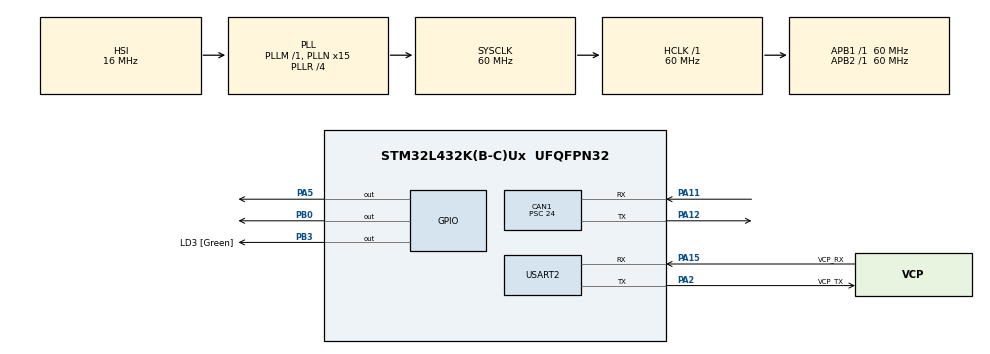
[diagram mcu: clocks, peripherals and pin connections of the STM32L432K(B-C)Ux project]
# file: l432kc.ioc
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CAN1.BS1=CAN_BS1_2TQ
CAN1.BS2=CAN_BS2_2TQ
CAN1.CalculateBaudRate=500000
CAN1.CalculateTimeBit=2000
CAN1.CalculateTimeQuantum=400.0
CAN1.Mode=CAN_MODE_NORMAL
CAN1.Prescaler=24
Dma.Request0=USART2_RX
Dma.USART2_RX.0.Direction=DMA_PERIPH_TO_MEMORY
Dma.USART2_RX.0.Instance=DMA1_Channel6
Dma.USART2_RX.0.MemDataAlignment=DMA_MDATAALIGN_BYTE
Dma.USART2_RX.0.MemInc=DMA_MINC_ENABLE
Dma.USART2_RX.0.Mode=DMA_NORMAL
Dma.USART2_RX.0.PeriphDataAlignment=DMA_PDATAALIGN_BYTE
Dma.USART2_RX.0.PeriphInc=DMA_PINC_DISABLE
Dma.USART2_RX.0.Priority=DMA_PRIORITY_LOW
Mcu.Family=STM32L4
Mcu.Name=STM32L432K(B-C)Ux
Mcu.Package=UFQFPN32
NVIC.CAN1_RX0_IRQn=true\:0\:0\:false\:false\:true\:true\:true\:true
NVIC.DMA1_Channel6_IRQn=true\:0\:0\:false\:false\:true\:false\:true\:true
NVIC.PriorityGroup=NVIC_PRIORITYGROUP_4
NVIC.TIM6_DAC_IRQn=true\:15\:0\:false\:false\:true\:false\:true\:true
NVIC.TimeBase=TIM6_DAC_IRQn
NVIC.TimeBaseIP=TIM6
NVIC.USART2_IRQn=true\:0\:0\:false\:false\:true\:true\:true\:true
PA0.GPIO_Label=MCO [High speed clock in]
PA0.Mode=HSE-External-Clock-Source-for-LittleOrca
PA0.Signal=RCC_CK_IN
PA11.Mode=CAN_Activate
PA11.Signal=CAN1_RX
PA12.Mode=CAN_Activate
PA12.Signal=CAN1_TX
PA13\ (JTMS-SWDIO).GPIO_Label=SWDIO
PA13\ (JTMS-SWDIO).Mode=Serial_Wire
PA13\ (JTMS-SWDIO).Signal=SYS_JTMS-SWDIO
PA14\ (JTCK-SWCLK).GPIO_Label=SWCLK
PA14\ (JTCK-SWCLK).Mode=Serial_Wire
PA14\ (JTCK-SWCLK).Signal=SYS_JTCK-SWCLK
PA15\ (JTDI).GPIO_Label=VCP_RX
PA15\ (JTDI).Mode=Asynchronous
PA15\ (JTDI).Signal=USART2_RX
PA2.GPIO_Label=VCP_TX
PA2.Mode=Asynchronous
PA2.Signal=USART2_TX
PA5.Signal=GPIO_Output
PB0.Signal=GPIO_Output
PB3\ (JTDO-TRACESWO).GPIO_Label=LD3 [Green]
PB3\ (JTDO-TRACESWO).Signal=GPIO_Output
PC14-OSC32_IN\ (PC14).Mode=LSE-External-Oscillator
PC14-OSC32_IN\ (PC14).Signal=RCC_OSC32_IN
PC15-OSC32_OUT\ (PC15).Mode=LSE-External-Oscillator
PC15-OSC32_OUT\ (PC15).Signal=RCC_OSC32_OUT
ProjectManager.HeapSize=0x200
ProjectManager.StackSize=0x400
ProjectManager.TargetToolchain=STM32CubeIDE
RCC.ADCFreq_Value=64000000
RCC.AHBFreq_Value=60000000
RCC.APB1Freq_Value=60000000
RCC.APB1TimFreq_Value=60000000
RCC.APB2Freq_Value=60000000
RCC.APB2TimFreq_Value=60000000
RCC.CortexFreq_Value=60000000
RCC.HCLKFreq_Value=60000000
RCC.HSE_VALUE=16000000
RCC.HSI16_VALUE=16000000
RCC.HSI48_VALUE=48000000
RCC.HSI_VALUE=16000000
RCC.MSI_VALUE=4000000
RCC.PLLMUL=RCC_PLLMUL_4
RCC.PLLN=15
RCC.PLLR=RCC_PLLR_DIV4
RCC.PLLSourceVirtual=RCC_PLLSOURCE_HSI
RCC.SYSCLKFreq_VALUE=60000000
RCC.SYSCLKSource=RCC_SYSCLKSOURCE_PLLCLK
RCC.USBFreq_Value=64000000
RCC.VCOOutputFreq_Value=240000000
USART2.VirtualMode-Asynchronous=VM_ASYNC
VP_SYS_VS_tim6.Mode=TIM6
board=NUCLEO-L432KC

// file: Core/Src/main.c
/* USER CODE BEGIN Header */
/**
  ******************************************************************************
  * @file           : main.c
  * @brief          : Main program body
  ******************************************************************************
  * @attention
  *
  * Copyright (c) 2023 STMicroelectronics.
  * All rights reserved.
  *
  * This software is licensed under terms that can be found in the LICENSE file
  * in the root directory of this software component.
  * If no LICENSE file comes with this software, it is provided AS-IS.
  *
  ******************************************************************************
  */
/* USER CODE END Header */
#include "main.h"

/* USER CODE BEGIN Includes */
#include <string.h>
#include <stdio.h>
#include <stdlib.h>
#include <math.h>

/* USER CODE END Includes */

CAN_HandleTypeDef hcan1;

UART_HandleTypeDef huart2;
DMA_HandleTypeDef hdma_usart2_rx;

/* USER CODE BEGIN PV */
CAN_FilterTypeDef canfilterconfig;

/* USER CODE END PV */

void SystemClock_Config(void);
static void MX_GPIO_Init(void);
static void MX_DMA_Init(void);
static void MX_USART2_UART_Init(void);
static void MX_CAN1_Init(void);

int main(void)
{

  /* MCU Configuration--------------------------------------------------------*/

  /* Reset of all peripherals, Initializes the Flash interface and the Systick. */
	HAL_Init();

  /* Configure the system clock */
  SystemClock_Config();

  /* Initialize all configured peripherals */
  MX_GPIO_Init();
  MX_DMA_Init();
  MX_USART2_UART_Init();
  MX_CAN1_Init();
  /* USER CODE BEGIN 2 */

  HAL_CAN_Start(&hcan1);
  // Activate the notification
  HAL_CAN_ActivateNotification(&hcan1, CAN_IT_RX_FIFO0_MSG_PENDING);

  /* USER CODE END 2 */

  /* Infinite loop */
  /* USER CODE BEGIN WHILE */

	ManagerHMI_Init();

  while (1)
  {
	ManagerHMI_Task();

    /* USER CODE END WHILE */

  }
}

void SystemClock_Config(void)
{
  RCC_OscInitTypeDef RCC_OscInitStruct = {0};
  RCC_ClkInitTypeDef RCC_ClkInitStruct = {0};

  /** Configure the main internal regulator output voltage
  */
  if (HAL_PWREx_ControlVoltageScaling(PWR_REGULATOR_VOLTAGE_SCALE1) != HAL_OK)
  {
    Error_Handler();
  }

  /** Initializes the RCC Oscillators according to the specified parameters
  * in the RCC_OscInitTypeDef structure.
  */
  RCC_OscInitStruct.OscillatorType = RCC_OSCILLATORTYPE_HSI;
  RCC_OscInitStruct.HSIState = RCC_HSI_ON;
  RCC_OscInitStruct.HSICalibrationValue = RCC_HSICALIBRATION_DEFAULT;
  RCC_OscInitStruct.PLL.PLLState = RCC_PLL_ON;
  RCC_OscInitStruct.PLL.PLLSource = RCC_PLLSOURCE_HSI;
  RCC_OscInitStruct.PLL.PLLM = 1;
  RCC_OscInitStruct.PLL.PLLN = 15;
  RCC_OscInitStruct.PLL.PLLP = RCC_PLLP_DIV7;
  RCC_OscInitStruct.PLL.PLLQ = RCC_PLLQ_DIV2;
  RCC_OscInitStruct.PLL.PLLR = RCC_PLLR_DIV4;
  if (HAL_RCC_OscConfig(&RCC_OscInitStruct) != HAL_OK)
  {
    Error_Handler();
  }

  /** Initializes the CPU, AHB and APB buses clocks
  */
  RCC_ClkInitStruct.ClockType = RCC_CLOCKTYPE_HCLK|RCC_CLOCKTYPE_SYSCLK
                              |RCC_CLOCKTYPE_PCLK1|RCC_CLOCKTYPE_PCLK2;
  RCC_ClkInitStruct.SYSCLKSource = RCC_SYSCLKSOURCE_PLLCLK;
  RCC_ClkInitStruct.AHBCLKDivider = RCC_SYSCLK_DIV1;
  RCC_ClkInitStruct.APB1CLKDivider = RCC_HCLK_DIV1;
  RCC_ClkInitStruct.APB2CLKDivider = RCC_HCLK_DIV1;

  if (HAL_RCC_ClockConfig(&RCC_ClkInitStruct, FLASH_LATENCY_3) != HAL_OK)
  {
    Error_Handler();
  }
}

static void MX_CAN1_Init(void)
{

  hcan1.Instance = CAN1;
  hcan1.Init.Prescaler = 24;
  hcan1.Init.Mode = CAN_MODE_NORMAL;
  hcan1.Init.SyncJumpWidth = CAN_SJW_1TQ;
  hcan1.Init.TimeSeg1 = CAN_BS1_2TQ;
  hcan1.Init.TimeSeg2 = CAN_BS2_2TQ;
  hcan1.Init.TimeTriggeredMode = DISABLE;
  hcan1.Init.AutoBusOff = DISABLE;
  hcan1.Init.AutoWakeUp = DISABLE;
  hcan1.Init.AutoRetransmission = DISABLE;
  hcan1.Init.ReceiveFifoLocked = DISABLE;
  hcan1.Init.TransmitFifoPriority = DISABLE;
  if (HAL_CAN_Init(&hcan1) != HAL_OK)
  {
    Error_Handler();
  }
  /* USER CODE BEGIN CAN1_Init 2 */

  canfilterconfig.FilterActivation = CAN_FILTER_ENABLE;
  canfilterconfig.FilterBank = 10;  // which filter bank to use from the assigned ones
  canfilterconfig.FilterFIFOAssignment = CAN_FILTER_FIFO0;
  canfilterconfig.FilterIdHigh = 0;
  canfilterconfig.FilterIdLow = 0;
  canfilterconfig.FilterMaskIdHigh = 0;
  canfilterconfig.FilterMaskIdLow = 0;
  canfilterconfig.FilterMode = CAN_FILTERMODE_IDMASK;
  canfilterconfig.FilterScale = CAN_FILTERSCALE_32BIT;
  canfilterconfig.SlaveStartFilterBank = 20;  // how many filters to assign to the CAN1 (master can)

  HAL_CAN_ConfigFilter(&hcan1, &canfilterconfig);

  /* USER CODE END CAN1_Init 2 */

}

static void MX_USART2_UART_Init(void)
{

  huart2.Instance = USART2;
  huart2.Init.BaudRate = 115200;
  huart2.Init.WordLength = UART_WORDLENGTH_8B;
  huart2.Init.StopBits = UART_STOPBITS_1;
  huart2.Init.Parity = UART_PARITY_NONE;
  huart2.Init.Mode = UART_MODE_TX_RX;
  huart2.Init.HwFlowCtl = UART_HWCONTROL_NONE;
  huart2.Init.OverSampling = UART_OVERSAMPLING_16;
  huart2.Init.OneBitSampling = UART_ONE_BIT_SAMPLE_DISABLE;
  huart2.AdvancedInit.AdvFeatureInit = UART_ADVFEATURE_NO_INIT;
  if (HAL_UART_Init(&huart2) != HAL_OK)
  {
    Error_Handler();
  }

}

static void MX_DMA_Init(void)
{

  /* DMA controller clock enable */
  __HAL_RCC_DMA1_CLK_ENABLE();

  /* DMA interrupt init */
  /* DMA1_Channel6_IRQn interrupt configuration */
  HAL_NVIC_SetPriority(DMA1_Channel6_IRQn, 0, 0);
  HAL_NVIC_EnableIRQ(DMA1_Channel6_IRQn);

}

static void MX_GPIO_Init(void)
{
  GPIO_InitTypeDef GPIO_InitStruct = {0};

  /* GPIO Ports Clock Enable */
  __HAL_RCC_GPIOC_CLK_ENABLE();
  __HAL_RCC_GPIOA_CLK_ENABLE();
  __HAL_RCC_GPIOB_CLK_ENABLE();

  /*Configure GPIO pin Output Level */
  HAL_GPIO_WritePin(GPIOA, GPIO_PIN_5, GPIO_PIN_RESET);

  /*Configure GPIO pin Output Level */
  HAL_GPIO_WritePin(GPIOB, GPIO_PIN_0|LD3_Pin, GPIO_PIN_RESET);

  /*Configure GPIO pin : PA5 */
  GPIO_InitStruct.Pin = GPIO_PIN_5;
  GPIO_InitStruct.Mode = GPIO_MODE_OUTPUT_PP;
  GPIO_InitStruct.Pull = GPIO_NOPULL;
  GPIO_InitStruct.Speed = GPIO_SPEED_FREQ_LOW;
  HAL_GPIO_Init(GPIOA, &GPIO_InitStruct);

  /*Configure GPIO pins : PB0 LD3_Pin */
  GPIO_InitStruct.Pin = GPIO_PIN_0|LD3_Pin;
  GPIO_InitStruct.Mode = GPIO_MODE_OUTPUT_PP;
  GPIO_InitStruct.Pull = GPIO_NOPULL;
  GPIO_InitStruct.Speed = GPIO_SPEED_FREQ_LOW;
  HAL_GPIO_Init(GPIOB, &GPIO_InitStruct);

}

void HAL_TIM_PeriodElapsedCallback(TIM_HandleTypeDef *htim)
{
  if (htim->Instance == TIM6) {
    HAL_IncTick();
  }
}

void Error_Handler(void)
{
  __disable_irq();
  while (1)
  {
  }
}
